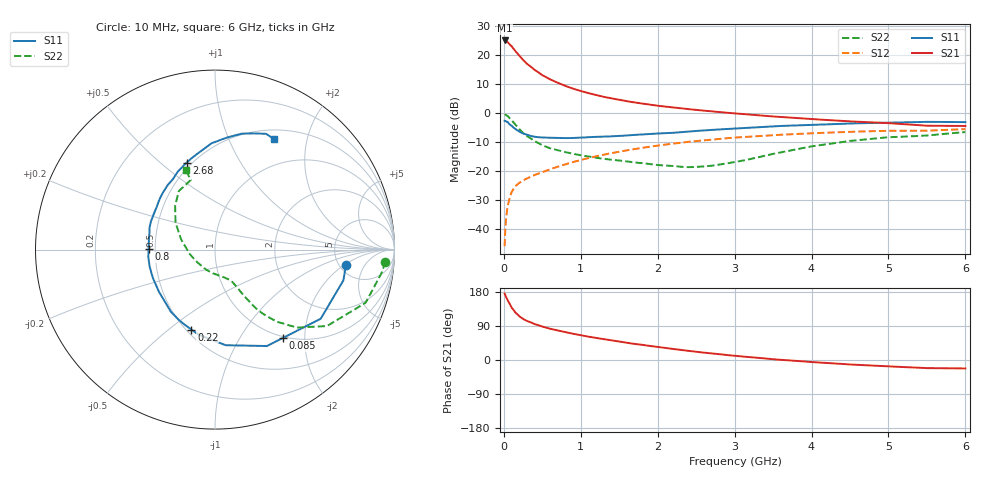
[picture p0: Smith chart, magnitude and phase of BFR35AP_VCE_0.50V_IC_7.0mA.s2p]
! Infineon Technologies  Discrete & RF Semiconductors
! BFR35AP
! VCE = 0.50 V,  IC =  7.0 mA
! Common Emitter S-Parameters:  Nov 2015
# GHz  S  MA  R  50
!  f  S11  S21  S12  S22
! GHz  MAG  ANG  MAG  ANG  MAG  ANG  MAG  ANG
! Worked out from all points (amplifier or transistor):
!   210 points, 10 MHz to 6 GHz, reference 50 ohm
!   highest |S21| = 25.0 dB at 10 MHz (marker M1)
!   |S21| within 3 dB of that: start of sweep to 129.9 MHz
!   unconditionally stable (mu >= 1): 479.4 MHz to end of sweep
!   at 185 MHz: K = 0.54, MSG = 22.3 dB, |S12| = -24.4 dB
!   at 1.52 GHz: K = 1.25, MAG = 5.8 dB, |S12| = -13.2 dB
!   at 6 GHz: K = 1.10, MAG = -1.4 dB, |S12| = -5.5 dB
!   S11 on the Smith chart (normalised r, x): 10 MHz: 5.69, -2.18; 85 MHz: 0.98, -1.57; 220 MHz: 0.53, -0.60; 800 MHz: 0.46, +0.00; 2.68 GHz: 0.47, +0.62; 6 GHz: 0.62, +1.49
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0.01  0.735 -6.9  17.78 175.3  0.0051 85.0  0.9519 -4.1
0.02  0.7355 -13.5  17.48 170.2  0.0106 81.3  0.9371 -8.0
0.05  0.7038 -33.2  16.67 157.0  0.0251 73.6  0.8903 -19.4
0.085  0.6209 -52.4  14.76 144.7  0.0377 64.5  0.79 -29.3
0.1  0.6102 -61.7  14.19 138.6  0.0433 62.2  0.7555 -34.3
0.15  0.5361 -83.6  11.65 125.1  0.0548 54.9  0.6311 -43.5
0.2  0.4829 -100.9  9.733 115.6  0.0626 51.6  0.5305 -49.3
0.22  0.4643 -106.5  9.103 112.9  0.0652 51.0  0.4991 -50.7
0.26  0.4401 -117.4  7.972 107.3  0.0701 50.1  0.4424 -53.4
0.3  0.4242 -125.5  7.074 103.1  0.0746 49.9  0.4016 -55.0
0.4  0.3911 -142.9  5.541 94.8  0.0858 50.5  0.3291 -57.2
0.5  0.3805 -155.7  4.491 88.0  0.0958 51.4  0.2786 -58.6
0.6  0.3762 -165.5  3.814 82.5  0.1071 52.7  0.2475 -59.6
0.8  0.3704 179.7  2.928 73.4  0.131 53.4  0.212 -61.4
1.02  0.3777 165.3  2.354 64.7  0.1579 53.4  0.1854 -64.8
1.4  0.3973 148.1  1.784 51.8  0.204 51.0  0.1574 -75.0
2.02  0.4459 126.2  1.326 33.9  0.2776 44.4  0.1267 -102.3
2.68  0.5098 107.9  1.076 17.8  0.3471 35.5  0.123 -148.5
3.1  0.5497 99.0  0.962 9.3  0.385 29.4  0.1514 -177.4
4.1  0.6341 82.5  0.773 -6.6  0.4541 15.6  0.2782 142.4
5.1  0.6868 70.4  0.657 -17.8  0.4948 2.6  0.3876 119.0
6  0.6978 61.7  0.599 -22.3  0.529 -6.3  0.4704 110.2
